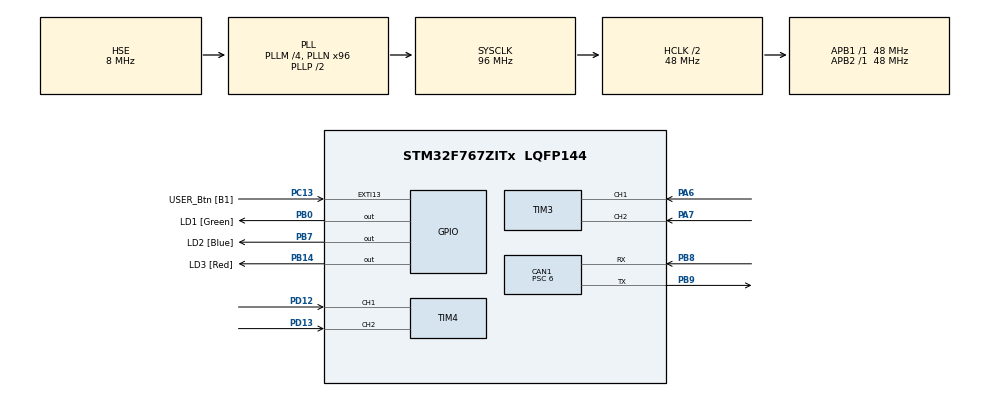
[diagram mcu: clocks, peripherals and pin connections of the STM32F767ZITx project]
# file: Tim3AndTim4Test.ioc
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CAN1.ABOM=ENABLE
CAN1.AWUM=ENABLE
CAN1.BS1=CAN_BS1_13TQ
CAN1.BS2=CAN_BS2_2TQ
CAN1.CalculateBaudRate=500000
CAN1.CalculateTimeBit=2000
CAN1.CalculateTimeQuantum=125.0
CAN1.NART=ENABLE
CAN1.Prescaler=6
Mcu.Family=STM32F7
Mcu.Name=STM32F767ZITx
Mcu.Package=LQFP144
NVIC.PriorityGroup=NVIC_PRIORITYGROUP_4
PA6.Signal=S_TIM3_CH1
PA7.Signal=S_TIM3_CH2
PB0.GPIO_Label=LD1 [Green]
PB0.Signal=GPIO_Output
PB14.GPIO_Label=LD3 [Red]
PB14.Signal=GPIO_Output
PB3.GPIO_Label=SWO
PB3.Signal=SYS_JTDO-SWO
PB7.GPIO_Label=LD2 [Blue]
PB7.Signal=GPIO_Output
PB8.Mode=CAN_Activate
PB8.Signal=CAN1_RX
PB9.Mode=CAN_Activate
PB9.Signal=CAN1_TX
PC13.GPIO_Label=USER_Btn [B1]
PC13.Signal=GPXTI13
PD12.Signal=S_TIM4_CH1
PD13.Signal=S_TIM4_CH2
PH0/OSC_IN.Mode=HSE-External-Clock-Source
PH0/OSC_IN.Signal=RCC_OSC_IN
PH1/OSC_OUT.Mode=HSE-External-Clock-Source
PH1/OSC_OUT.Signal=RCC_OSC_OUT
ProjectManager.HeapSize=0x200
ProjectManager.StackSize=0x400
ProjectManager.TargetToolchain=STM32CubeIDE
RCC.48MHZClocksFreq_Value=24000000
RCC.AHBCLKDivider=RCC_SYSCLK_DIV2
RCC.AHBFreq_Value=48000000
RCC.APB1Freq_Value=48000000
RCC.APB1TimFreq_Value=48000000
RCC.APB2Freq_Value=48000000
RCC.APB2TimFreq_Value=48000000
RCC.CortexFreq_Value=48000000
RCC.HCLKFreq_Value=48000000
RCC.HSE_VALUE=8000000
RCC.HSI_VALUE=16000000
RCC.LSE_VALUE=32768
RCC.PLLM=4
RCC.PLLMUL=RCC_PLL_MUL9
RCC.PLLN=96
RCC.PLLQ=4
RCC.PLLSourceVirtual=RCC_PLLSOURCE_HSE
RCC.PRESCALERUSB=RCC_USBCLKSOURCE_PLL_DIV1_5
RCC.SYSCLKFreq_VALUE=96000000
RCC.SYSCLKSource=RCC_SYSCLKSOURCE_PLLCLK
RCC.SYSCLKSourceVirtual=RCC_SYSCLKSOURCE_PLLCLK
RCC.USBFreq_Value=48000000
RCC.VCOOutputFreq_Value=192000000
SH.S_TIM3_CH1.0=TIM3_CH1,Encoder_Interface
SH.S_TIM3_CH2.0=TIM3_CH2,Encoder_Interface
SH.S_TIM4_CH1.0=TIM4_CH1,Encoder_Interface
SH.S_TIM4_CH2.0=TIM4_CH2,Encoder_Interface
TIM3.EncoderMode=TIM_ENCODERMODE_TI12
TIM4.EncoderMode=TIM_ENCODERMODE_TI12
board=NUCLEO-F767ZI

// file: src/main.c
/* USER CODE BEGIN Header */
/**
 ******************************************************************************
 * @file           : main.c
 * @brief          : Main program body
 ******************************************************************************
 * @attention
 *
 * Copyright (c) 2025 STMicroelectronics.
 * All rights reserved.
 *
 * This software is licensed under terms that can be found in the LICENSE file
 * in the root directory of this software component.
 * If no LICENSE file comes with this software, it is provided AS-IS.
 *
 ******************************************************************************
 */
/* USER CODE END Header */
#include "main.h"

/* USER CODE BEGIN Includes */
#include "can.h"
#include "wheel_speed.h"
#include "filter.h"
/* USER CODE END Includes */

/* USER CODE BEGIN PTD */
#define RPM_SCALE_FACTOR 1000
/* USER CODE END PTD */

CAN_HandleTypeDef hcan1;
CAN_HandleTypeDef hcan2;

TIM_HandleTypeDef htim3;
TIM_HandleTypeDef htim4;

IIR_filter left_IIR;
IIR_filter right_IIR;

void SystemClock_Config(void);
static void MX_GPIO_Init(void);
static void MX_TIM3_Init(void);
static void MX_TIM4_Init(void);
static void MX_CAN1_Init(void);
static void MX_CAN2_Init(void);

int main(void) {

    /* Reset of all peripherals, Initializes the Flash interface and the
     * Systick. */
    HAL_Init();

    /* Configure the system clock */
    SystemClock_Config();

    /* Initialize all configured peripherals */
    MX_GPIO_Init();
    MX_TIM3_Init();
    MX_TIM4_Init();
    MX_CAN1_Init();

    /* USER CODE BEGIN 2 */
    volatile uint16_t count_left = 0;
    volatile uint16_t count_right = 0;
    volatile uint32_t last = 0;
    volatile float lws = 0;
    volatile float rws = 0;
    float filtered_lws = 0;
    float filtered_rws = 0;

    // Initialize IIR filters
    IIR_filter_init(&left_IIR);
    IIR_filter_init(&right_IIR);

    /* USER CODE END 2 */

    /* Infinite loop */
    /* USER CODE BEGIN WHILE */
    while (1) {
        HAL_GPIO_WritePin(LD3_GPIO_Port, LD3_Pin,
                          HAL_GPIO_ReadPin(GPIOA, GPIO_PIN_6));
        HAL_GPIO_WritePin(LD1_GPIO_Port, LD1_Pin,
                          HAL_GPIO_ReadPin(GPIOD, GPIO_PIN_12));

        uint32_t now = HAL_GetTick();

        if (now - last >= SEND_INTERVAL) {
            count_left = __HAL_TIM_GetCounter(&htim4) / 4;
            count_right = __HAL_TIM_GetCounter(&htim3) / 4;

            lws = calculate_left_velocity(count_left);
            rws = calculate_right_velocity(count_right);

            filtered_lws = IIR_filter_update(&left_IIR, lws);
            filtered_rws = IIR_filter_update(&right_IIR, rws);

            send_can(&hcan1, RPM_SCALE_FACTOR * lws, RPM_SCALE_FACTOR * rws, 0);
            send_can(&hcan1, RPM_SCALE_FACTOR * filtered_lws, RPM_SCALE_FACTOR * filtered_rws, 1);

            last = now;
        }
    }
    /* USER CODE END 3 */
}

void SystemClock_Config(void) {
    RCC_OscInitTypeDef RCC_OscInitStruct = {0};
    RCC_ClkInitTypeDef RCC_ClkInitStruct = {0};

    /** Configure the main internal regulator output voltage
     */
    __HAL_RCC_PWR_CLK_ENABLE();
    __HAL_PWR_VOLTAGESCALING_CONFIG(PWR_REGULATOR_VOLTAGE_SCALE3);

    /** Initializes the RCC Oscillators according to the specified parameters
     * in the RCC_OscInitTypeDef structure.
     */
    RCC_OscInitStruct.OscillatorType = RCC_OSCILLATORTYPE_HSE;
    RCC_OscInitStruct.HSEState = RCC_HSE_BYPASS;
    RCC_OscInitStruct.PLL.PLLState = RCC_PLL_ON;
    RCC_OscInitStruct.PLL.PLLSource = RCC_PLLSOURCE_HSE;
    RCC_OscInitStruct.PLL.PLLM = 4;
    RCC_OscInitStruct.PLL.PLLN = 96;
    RCC_OscInitStruct.PLL.PLLP = RCC_PLLP_DIV2;
    RCC_OscInitStruct.PLL.PLLQ = 4;
    RCC_OscInitStruct.PLL.PLLR = 2;
    if (HAL_RCC_OscConfig(&RCC_OscInitStruct) != HAL_OK) {
        Error_Handler();
    }

    /** Activate the Over-Drive mode
     */
    if (HAL_PWREx_EnableOverDrive() != HAL_OK) {
        Error_Handler();
    }

    /** Initializes the CPU, AHB and APB buses clocks
     */
    RCC_ClkInitStruct.ClockType = RCC_CLOCKTYPE_HCLK | RCC_CLOCKTYPE_SYSCLK |
                                  RCC_CLOCKTYPE_PCLK1 | RCC_CLOCKTYPE_PCLK2;
    RCC_ClkInitStruct.SYSCLKSource = RCC_SYSCLKSOURCE_PLLCLK;
    RCC_ClkInitStruct.AHBCLKDivider = RCC_SYSCLK_DIV2;
    RCC_ClkInitStruct.APB1CLKDivider = RCC_HCLK_DIV1;
    RCC_ClkInitStruct.APB2CLKDivider = RCC_HCLK_DIV1;

    if (HAL_RCC_ClockConfig(&RCC_ClkInitStruct, FLASH_LATENCY_1) != HAL_OK) {
        Error_Handler();
    }
}

static void MX_CAN1_Init(void) {

    hcan1.Instance = CAN1;
    hcan1.Init.Prescaler = 6;
    hcan1.Init.Mode = CAN_MODE_NORMAL;
    hcan1.Init.SyncJumpWidth = CAN_SJW_1TQ;
    hcan1.Init.TimeSeg1 = CAN_BS1_13TQ;
    hcan1.Init.TimeSeg2 = CAN_BS2_2TQ;
    hcan1.Init.TimeTriggeredMode = DISABLE;
    hcan1.Init.AutoBusOff = ENABLE;
    hcan1.Init.AutoWakeUp = ENABLE;
    hcan1.Init.AutoRetransmission = ENABLE;
    hcan1.Init.ReceiveFifoLocked = DISABLE;
    hcan1.Init.TransmitFifoPriority = DISABLE;
    if (HAL_CAN_Init(&hcan1) != HAL_OK) {
        Error_Handler();
    }
    /* USER CODE BEGIN CAN1_Init 2 */
    CAN_FilterTypeDef filter;
    filter.FilterBank = 0;
    filter.FilterMode = CAN_FILTERMODE_IDMASK;
    filter.FilterScale = CAN_FILTERSCALE_32BIT;
    filter.FilterIdHigh = 0x0000;
    filter.FilterIdLow = 0x0000;
    filter.FilterMaskIdHigh = 0x0000;
    filter.FilterMaskIdLow = 0x0000;
    filter.FilterFIFOAssignment = CAN_RX_FIFO0 | CAN_RX_FIFO1;
    filter.FilterActivation = ENABLE;
    filter.SlaveStartFilterBank = 14;
    if (HAL_CAN_ConfigFilter(&hcan1, &filter) != HAL_OK) {
        Error_Handler();
    }

    // Start CAN peripheral
    if (HAL_CAN_Start(&hcan1) != HAL_OK) {
        // Start Error
        Error_Handler();
    }
}

static void MX_TIM3_Init(void) {

    TIM_Encoder_InitTypeDef sConfig = {0};
    TIM_MasterConfigTypeDef sMasterConfig = {0};

    htim3.Instance = TIM3;
    htim3.Init.Prescaler = 0;
    htim3.Init.CounterMode = TIM_COUNTERMODE_UP;
    htim3.Init.Period = 65535;
    htim3.Init.ClockDivision = TIM_CLOCKDIVISION_DIV1;
    htim3.Init.AutoReloadPreload = TIM_AUTORELOAD_PRELOAD_DISABLE;
    sConfig.EncoderMode = TIM_ENCODERMODE_TI12;
    sConfig.IC1Polarity = TIM_ICPOLARITY_RISING;
    sConfig.IC1Selection = TIM_ICSELECTION_DIRECTTI;
    sConfig.IC1Prescaler = TIM_ICPSC_DIV1;
    sConfig.IC1Filter = 0;
    sConfig.IC2Polarity = TIM_ICPOLARITY_RISING;
    sConfig.IC2Selection = TIM_ICSELECTION_DIRECTTI;
    sConfig.IC2Prescaler = TIM_ICPSC_DIV1;
    sConfig.IC2Filter = 0;
    if (HAL_TIM_Encoder_Init(&htim3, &sConfig) != HAL_OK) {
        Error_Handler();
    }
    sMasterConfig.MasterOutputTrigger = TIM_TRGO_RESET;
    sMasterConfig.MasterSlaveMode = TIM_MASTERSLAVEMODE_DISABLE;
    if (HAL_TIMEx_MasterConfigSynchronization(&htim3, &sMasterConfig) !=
        HAL_OK) {
        Error_Handler();
    }
    /* USER CODE BEGIN TIM3_Init 2 */
    if (HAL_TIM_Encoder_Start(&htim3, TIM_CHANNEL_ALL) != HAL_OK) {
        Error_Handler();
    }
    /* USER CODE END TIM3_Init 2 */
}

static void MX_TIM4_Init(void) {

    TIM_Encoder_InitTypeDef sConfig = {0};
    TIM_MasterConfigTypeDef sMasterConfig = {0};

    htim4.Instance = TIM4;
    htim4.Init.Prescaler = 0;
    htim4.Init.CounterMode = TIM_COUNTERMODE_UP;
    htim4.Init.Period = 65535;
    htim4.Init.ClockDivision = TIM_CLOCKDIVISION_DIV1;
    htim4.Init.AutoReloadPreload = TIM_AUTORELOAD_PRELOAD_DISABLE;
    sConfig.EncoderMode = TIM_ENCODERMODE_TI12;
    sConfig.IC1Polarity = TIM_ICPOLARITY_RISING;
    sConfig.IC1Selection = TIM_ICSELECTION_DIRECTTI;
    sConfig.IC1Prescaler = TIM_ICPSC_DIV1;
    sConfig.IC1Filter = 0;
    sConfig.IC2Polarity = TIM_ICPOLARITY_RISING;
    sConfig.IC2Selection = TIM_ICSELECTION_DIRECTTI;
    sConfig.IC2Prescaler = TIM_ICPSC_DIV1;
    sConfig.IC2Filter = 0;
    if (HAL_TIM_Encoder_Init(&htim4, &sConfig) != HAL_OK) {
        Error_Handler();
    }
    sMasterConfig.MasterOutputTrigger = TIM_TRGO_RESET;
    sMasterConfig.MasterSlaveMode = TIM_MASTERSLAVEMODE_DISABLE;
    if (HAL_TIMEx_MasterConfigSynchronization(&htim4, &sMasterConfig) !=
        HAL_OK) {
        Error_Handler();
    }
    /* USER CODE BEGIN TIM4_Init 2 */
    if (HAL_TIM_Encoder_Start(&htim4, TIM_CHANNEL_ALL) != HAL_OK) {
        Error_Handler();
    }
    /* USER CODE END TIM4_Init 2 */
}

static void MX_GPIO_Init(void) {
    GPIO_InitTypeDef GPIO_InitStruct = {0};

    /* GPIO Ports Clock Enable */
    __HAL_RCC_GPIOC_CLK_ENABLE();
    __HAL_RCC_GPIOH_CLK_ENABLE();
    __HAL_RCC_GPIOA_CLK_ENABLE();
    __HAL_RCC_GPIOB_CLK_ENABLE();
    __HAL_RCC_GPIOD_CLK_ENABLE();

    /*Configure GPIO pin Output Level */
    HAL_GPIO_WritePin(GPIOB, LD1_Pin | LD3_Pin | LD2_Pin, GPIO_PIN_RESET);

    /*Configure GPIO pin : USER_Btn_Pin */
    GPIO_InitStruct.Pin = USER_Btn_Pin;
    GPIO_InitStruct.Mode = GPIO_MODE_IT_RISING;
    GPIO_InitStruct.Pull = GPIO_NOPULL;
    HAL_GPIO_Init(USER_Btn_GPIO_Port, &GPIO_InitStruct);

    /*Configure GPIO pins : LD1_Pin LD3_Pin LD2_Pin */
    GPIO_InitStruct.Pin = LD1_Pin | LD3_Pin | LD2_Pin;
    GPIO_InitStruct.Mode = GPIO_MODE_OUTPUT_PP;
    GPIO_InitStruct.Pull = GPIO_NOPULL;
    GPIO_InitStruct.Speed = GPIO_SPEED_FREQ_LOW;
    HAL_GPIO_Init(GPIOB, &GPIO_InitStruct);

}

void Error_Handler(void) {
    /* USER CODE BEGIN Error_Handler_Debug */
    /* User can add his own implementation to report the HAL error return state
     */
    __disable_irq();
    while (1) {
    }
    /* USER CODE END Error_Handler_Debug */
}

#ifdef USE_FULL_ASSERT
/**
 * @brief  Reports the name of the source file and the source line number
 *         where the assert_param error has occurred.
 * @param  file: pointer to the source file name
 * @param  line: assert_param error line source number
 * @retval None
 */
void assert_failed(uint8_t *file, uint32_t line) {
    /* USER CODE BEGIN 6 */
    /* User can add his own implementation to report the file name and line
       number, ex: printf("Wrong parameters value: file %s on line %d\r\n",
       file, line) */
    /* USER CODE END 6 */
}
#endif /* USE_FULL_ASSERT */
